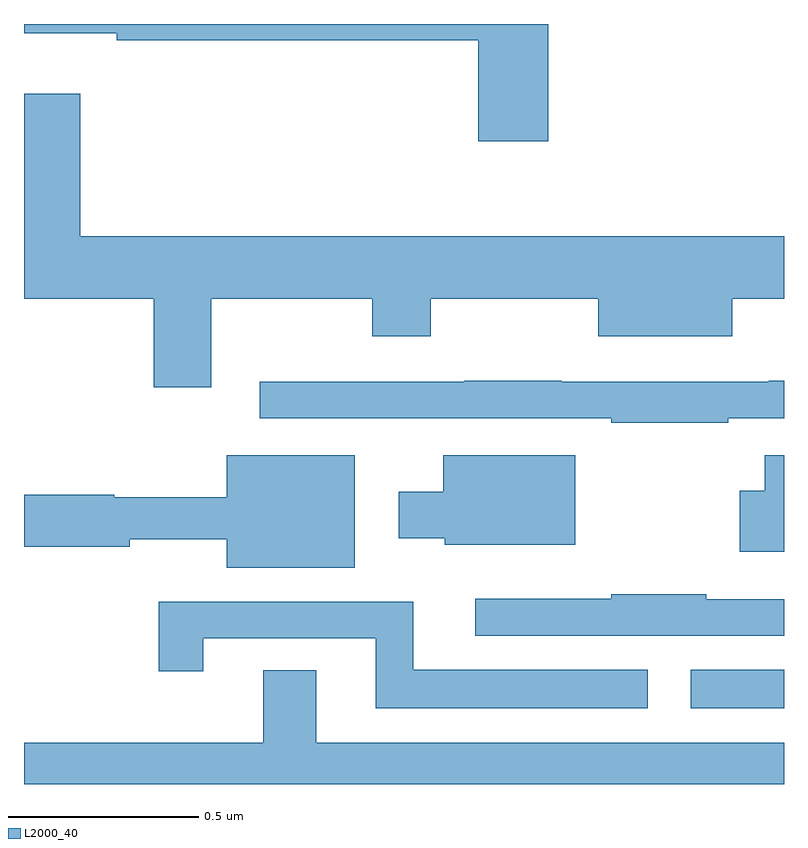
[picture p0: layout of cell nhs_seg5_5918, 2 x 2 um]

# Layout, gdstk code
import gdstk
lib = gdstk.Library(unit=1e-6, precision=1e-09)
def R(c, l, rs):  # rectangles x0, y0, x1, y1
    for r in rs: c.add(gdstk.rectangle(r[:2], r[2:], *l))
def P(c, l, *ps):  # polygons
    for p in ps: c.add(gdstk.Polygon(p, *l))
L2000_40 = (2000, 40)

nhs_seg5_5918 = lib.new_cell('nhs_seg5_5918')
R(nhs_seg5_5918, L2000_40, [(190.755,872.999,191,873.1)])
P(nhs_seg5_5918, L2000_40, [(190.379,874.799),(189,874.799),(189,874.775),(189.244,874.775),(189.244,874.756),(190.196,874.756),(190.196,874.491),(190.379,874.491)],
  [(189.493,874.076),(189.916,874.076),(189.916,873.977),(190.071,873.977),(190.071,874.076),(190.511,874.076),(190.511,873.977),(190.864,873.977),(190.864,874.076),(191,874.076),(191,874.24),(189.148,874.24),(189.148,874.615),(189,874.615),(189,874.076),(189.341,874.076),(189.341,873.843),(189.493,873.843)],
  [(190.853,873.762),(191,873.762),(191,873.86),(190.96,873.86),(190.96,873.858),(190.415,873.858),(190.415,873.86),(190.159,873.86),(190.159,873.858),(189.621,873.858),(189.621,873.762),(190.546,873.762),(190.546,873.75),(190.853,873.75)],
  [(190.45,873.664),(190.103,873.664),(190.103,873.568),(189.986,873.568),(189.986,873.446),(190.107,873.446),(190.107,873.428),(190.45,873.428)],
  [(191,873.664),(190.949,873.664),(190.949,873.571),(190.884,873.571),(190.884,873.41),(191,873.41)],
  [(189.871,873.664),(189.533,873.664),(189.533,873.553),(189.237,873.553),(189.237,873.56),(189,873.56),(189,873.424),(189.278,873.424),(189.278,873.443),(189.533,873.443),(189.533,873.368),(189.871,873.368)],
  [(191,873.285),(190.796,873.285),(190.796,873.298),(190.546,873.298),(190.546,873.286),(190.188,873.286),(190.188,873.189),(191,873.189)],
  [(190.642,873.1),(190.024,873.1),(190.024,873.279),(189.355,873.279),(189.355,873.096),(189.472,873.096),(189.472,873.183),(189.926,873.183),(189.926,872.999),(190.642,872.999)],
  [(191,872.908),(189.769,872.908),(189.769,873.098),(189.629,873.098),(189.629,872.908),(189,872.908),(189,872.799),(191,872.799)])

lib.write_gds('nhs_seg5_5918.gds')
